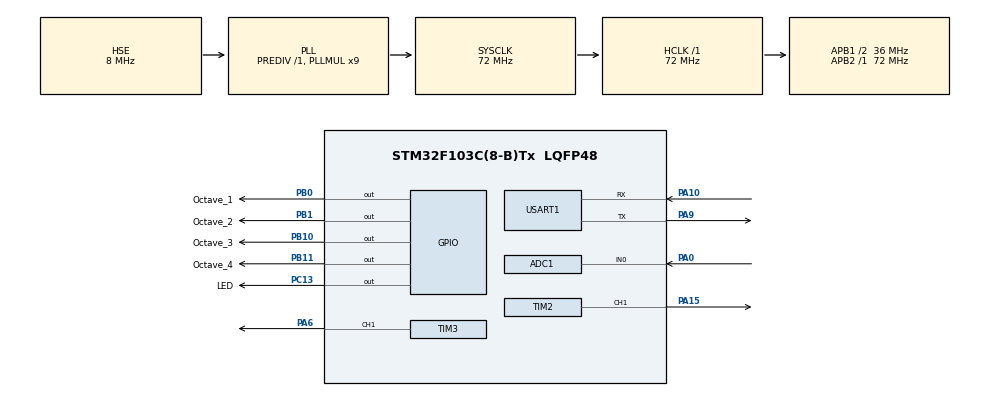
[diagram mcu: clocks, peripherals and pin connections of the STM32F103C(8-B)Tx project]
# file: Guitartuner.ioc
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ADC1.Channel-0\#ChannelRegularConversion=ADC_CHANNEL_0
ADC1.ContinuousConvMode=DISABLE
ADC1.ExternalTrigConv=ADC_EXTERNALTRIGCONV_T3_TRGO
ADC1.NbrOfConversionFlag=1
ADC1.Rank-0\#ChannelRegularConversion=1
ADC1.SamplingTime-0\#ChannelRegularConversion=ADC_SAMPLETIME_1CYCLE_5
ADC1.master=1
Mcu.Family=STM32F1
Mcu.Name=STM32F103C(8-B)Tx
Mcu.Package=LQFP48
NVIC.ADC1_2_IRQn=true\:0\:0\:false\:false\:true\:true\:true
NVIC.PriorityGroup=NVIC_PRIORITYGROUP_4
PA0-WKUP.Signal=ADCx_IN0
PA10.Mode=Asynchronous
PA10.Signal=USART1_RX
PA13.Mode=Serial_Wire
PA13.Signal=SYS_JTMS-SWDIO
PA14.Mode=Serial_Wire
PA14.Signal=SYS_JTCK-SWCLK
PA15.Signal=S_TIM2_CH1_ETR
PA6.Signal=S_TIM3_CH1
PA9.Mode=Asynchronous
PA9.Signal=USART1_TX
PB0.GPIO_Label=Octave_1
PB0.Signal=GPIO_Output
PB1.GPIO_Label=Octave_2
PB1.Signal=GPIO_Output
PB10.GPIO_Label=Octave_3
PB10.Signal=GPIO_Output
PB11.GPIO_Label=Octave_4
PB11.Signal=GPIO_Output
PC13-TAMPER-RTC.GPIO_Label=LED
PC13-TAMPER-RTC.Signal=GPIO_Output
PD0-OSC_IN.Mode=HSE-External-Oscillator
PD0-OSC_IN.Signal=RCC_OSC_IN
PD1-OSC_OUT.Mode=HSE-External-Oscillator
PD1-OSC_OUT.Signal=RCC_OSC_OUT
ProjectManager.HeapSize=0x200
ProjectManager.StackSize=0x400
ProjectManager.TargetToolchain=STM32CubeIDE
RCC.ADCPresc=RCC_ADCPCLK2_DIV6
RCC.AHBFreq_Value=72000000
RCC.APB1CLKDivider=RCC_HCLK_DIV2
RCC.APB1Freq_Value=36000000
RCC.APB1TimFreq_Value=72000000
RCC.APB2Freq_Value=72000000
RCC.APB2TimFreq_Value=72000000
RCC.HCLKFreq_Value=72000000
RCC.PLLMUL=RCC_PLL_MUL9
RCC.PLLSourceVirtual=RCC_PLLSOURCE_HSE
RCC.SYSCLKFreq_VALUE=72000000
RCC.SYSCLKSource=RCC_SYSCLKSOURCE_PLLCLK
RCC.USBFreq_Value=48000000
RCC.USBPrescaler=RCC_USBCLKSOURCE_PLL_DIV1_5
SH.ADCx_IN0.0=ADC1_IN0,IN0
SH.S_TIM2_CH1_ETR.0=TIM2_CH1,PWM Generation1 CH1
SH.S_TIM3_CH1.0=TIM3_CH1,PWM Generation1 CH1
TIM2.Channel-PWM\ Generation1\ CH1=TIM_CHANNEL_1
TIM2.Period=1000
TIM2.Prescaler=71
TIM2.TIM_MasterOutputTrigger=TIM_TRGO_UPDATE
TIM3.Channel-PWM\ Generation1\ CH1=TIM_CHANNEL_1
TIM3.Period=124
TIM3.Prescaler=11
TIM3.Pulse-PWM\ Generation1\ CH1=62
TIM3.TIM_MasterOutputTrigger=TIM_TRGO_UPDATE
USART1.VirtualMode=VM_ASYNC
VP_TIM2_VS_ClockSourceINT.Mode=Internal
VP_TIM3_VS_ClockSourceINT.Mode=Internal
board=custom

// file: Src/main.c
/* USER CODE BEGIN Header */
/**
******************************************************************************
* @file           : main.c
* @brief          : Main program body
******************************************************************************
* @attention
*
* <h2><center>&copy; Copyright (c) 2019 STMicroelectronics.
* All rights reserved.</center></h2>
*
* This software component is licensed by ST under BSD 3-Clause license,
* the "License"; You may not use this file except in compliance with the
* License. You may obtain a copy of the License at:
*                        opensource.org/licenses/BSD-3-Clause
*
******************************************************************************
*/
/* USER CODE END Header */

#include "main.h"

/* USER CODE BEGIN Includes */

#include <stdio.h>
#include <stdlib.h>
#include <math.h>
#include <string.h>
#include "stm32f1xx_hal_rcc.h"

/* USER CODE END Includes */

/* USER CODE BEGIN PD */

/* Notes in first octave */

#define C1  32.703
#define Cs1 34.648
#define D1  36.708
#define Ds1 38.891
#define E1  41.203
#define F1  43.654
#define Fs1 46.249
#define G1  48.999
#define Gs1 51.913
#define A1  55.000
#define As1 58.270
#define B1  61.735

#define FREQ_MIN 30.703     /* B0 First stripe */
#define FREQ_MAX 63.735     /* C2 Last stripe */

#define sample_freq 48000.0

/* USER CODE END PD */

ADC_HandleTypeDef hadc1;

TIM_HandleTypeDef htim2;
TIM_HandleTypeDef htim3;

UART_HandleTypeDef huart1;

/* USER CODE BEGIN PV */

//data storage variables
uint8_t newData = 0;
uint8_t prevData = 0;
unsigned int time = 0;//keeps time and sends vales to store in timer[] occasionally
int timer[10];//storage for timing of events
int slope[10];//storage for slope of events
unsigned int totalTimer;//used to calculate period
volatile unsigned int period = 0;//storage for period of wave
uint8_t indexx = 0;//current storage index
float frequency;//storage for frequency calculations
int maxSlope = 0;//used to calculate max slope as trigger point
int newSlope;//storage for incoming slope data

//variables for decided whether you have a match
uint8_t noMatch = 0;//counts how many non-matches you've received to reset variables if it's been too long
uint8_t slopeTol = 3;// 50 slope tolerance- adjust this if you need
int timerTol = 10;// 50 timer tolerance- adjust this if you need

//variables for amp detection
unsigned int ampTimer = 0;
uint8_t maxAmp = 0;
volatile uint8_t checkMaxAmp;
uint8_t ampThreshold = 20;  //raise if you have a very noisy signal

float pitch_1;
float duty, prevduty;
float notes[] = { C1, Cs1, D1, Ds1, E1, F1, Fs1, G1, Gs1, A1, As1, B1 };
size_t octave;

uint32_t multiplier;

/* USER CODE END PV */

void SystemClock_Config(void);
static void MX_GPIO_Init(void);
static void MX_ADC1_Init(void);
static void MX_TIM3_Init(void);
static void MX_USART1_UART_Init(void);
static void MX_TIM2_Init(void);
/* USER CODE BEGIN PFP */

void reset(void);

/* USER CODE END PFP */

/* USER CODE BEGIN 0 */

void HAL_ADC_ConvCpltCallback(ADC_HandleTypeDef* hadc)
{
    /* Prevent unused argument(s) compilation warning */
    UNUSED(hadc);

    prevData = newData;//store previous value
    newData = HAL_ADC_GetValue(&hadc1) >> 4;//get value from A0
    if (prevData < 127 && newData >= 127) {//if increasing and crossing midpoint
        newSlope = newData - prevData;//calculate slope
        if (abs(newSlope - maxSlope) < slopeTol) {//if slopes are ==
            //record new data and reset time
            slope[indexx] = newSlope;
            timer[indexx] = time;
            time = 0;
            if (indexx == 0) {//new max slope just reset
                noMatch = 0;
                indexx++;//increment index
            }
            else if (abs(timer[0] - timer[indexx]) < timerTol &&
            		 abs(slope[0] - newSlope) < slopeTol) {//if timer duration and slopes match
                //sum timer values
                totalTimer = 0;
                for (uint8_t i = 0; i < indexx; i++) {
                    totalTimer += timer[i];
                }
                period = totalTimer;//set period
                //reset new zero indexx values to compare with
                timer[0] = timer[indexx];
                slope[0] = slope[indexx];
                indexx = 1;//set index to 1
                noMatch = 0;
            }
            else {//crossing midpoint but not match
                indexx++;//increment index
                if (indexx > 9) {
                    reset();
                }
            }
        }
        else if (newSlope > maxSlope) {//if new slope is much larger than max slope
            maxSlope = newSlope;
            time = 0;//reset clock
            noMatch = 0;
            indexx = 0;//reset index
        }
        else {//slope not steep enough
            noMatch++;//increment no match counter
            if (noMatch > 9) {
                reset();
            }
        }
    }

    time++;//increment timer at rate of 38.5kHz

    ampTimer++;//increment amplitude timer
    if (abs(127 - newData) > maxAmp) {
        maxAmp = abs(127 - newData);
    }
    if (ampTimer == 1000) {
        ampTimer = 0;
        checkMaxAmp = maxAmp;
        maxAmp = 0;
    }
}

void reset(void)
{//clea out some variables
    indexx = 0;//reset index
    noMatch = 0;//reset match couner
    maxSlope = 0;//reset slope
}

void TM_Delay_Init(void)
{
    /* Get system clocks */
    uint32_t freq = HAL_RCC_GetHCLKFreq();

    /* While loop takes 4 cycles */
    /* For 1 us delay, we need to divide with 4M */
    multiplier = freq / 4000000;
}

void TM_DelayMicros(uint32_t micros)
{
    /* Multiply micros with multipler */
    /* Substract 10 */
    micros = micros * multiplier - 10;
    /* 4 cycles for one loop */
    while (micros--);
}

/* USER CODE END 0 */

int main(void)
{

  /* MCU Configuration--------------------------------------------------------*/

  /* Reset of all peripherals, Initializes the Flash interface and the Systick. */
  HAL_Init();

  /* Configure the system clock */
  SystemClock_Config();

  /* Initialize all configured peripherals */
  MX_GPIO_Init();
  MX_ADC1_Init();
  MX_TIM3_Init();
  MX_USART1_UART_Init();
  MX_TIM2_Init();
  /* USER CODE BEGIN 2 */

  HAL_TIM_PWM_Start(&htim2, TIM_CHANNEL_1);
  HAL_TIM_Base_Start(&htim3);
  HAL_TIM_PWM_Start(&htim3, TIM_CHANNEL_1);
  HAL_ADC_Start_IT(&hadc1);
  TM_Delay_Init();

  /* USER CODE END 2 */

  /* Infinite loop */
  /* USER CODE BEGIN WHILE */

  /* Test the instrument */
  for (size_t i = 1; i <= 1000; i++) {
      TIM2->CCR1 = i;
      TM_DelayMicros(200);
  }

  HAL_Delay(100);

  for (size_t i = 1000; i > 0; i--) {
      TIM2->CCR1 = i;
      TM_DelayMicros(200);
  }

  while (1)
  {
    /* USER CODE END WHILE */

    /* USER CODE BEGIN 3 */

    if (checkMaxAmp > ampThreshold) {
        frequency = sample_freq / period;

        //print results
        if (frequency > 51 && frequency < 350) {
            char buf[32];
            sprintf(buf, "%.2f Hz\r\n", frequency);
            HAL_UART_Transmit(&huart1, (uint8_t*)buf, strlen(buf), HAL_MAX_DELAY);
            /* Divide frequency to first octave */
            for (size_t i = 0; i < 4; i++) {
                pitch_1 = frequency / (1 << i);
                if (pitch_1 >= FREQ_MIN && pitch_1 <= FREQ_MAX) {
                    duty = 100 * (pitch_1 - FREQ_MIN) / (FREQ_MAX - FREQ_MIN);
                    prevduty = TIM2->CCR1 / 10;
                    /* Calculate distance. If its far, soften the pointer */
                    if (abs(duty - prevduty) >= 10) {
                        /* PWM resolution is 1000 */
                        for (size_t i = prevduty; i < duty*10; i++) {
                            TIM2->CCR1 = i;
                            TM_DelayMicros(200);
                        }
                    }
                    else
                    	TIM2->CCR1 = duty * 10;

                    octave = i + 1;
                    break;
                }
            }
            for (size_t i = 0; i < 12; i++) {
                if (fabs(pitch_1 - notes[i]) < 0.5) {
                    switch (octave) {
                        case 1 :
                            HAL_GPIO_WritePin(GPIOB, Octave_1_Pin, GPIO_PIN_SET);
                            HAL_Delay(1000);
                        break;
                        case 2 :
                            HAL_GPIO_WritePin(GPIOB, Octave_2_Pin, GPIO_PIN_SET);
                            HAL_Delay(1000);
                        break;
                        case 3 :
                            HAL_GPIO_WritePin(GPIOB, Octave_3_Pin, GPIO_PIN_SET);
                            HAL_Delay(1000);
                        break;
                        case 4 :
                            HAL_GPIO_WritePin(GPIOB, Octave_4_Pin, GPIO_PIN_SET);
                            HAL_Delay(1000);
                        break;
                        default : break;
                    }
                    break;
                }
                HAL_GPIO_WritePin(GPIOB, Octave_1_Pin | Octave_2_Pin |
                                         Octave_3_Pin | Octave_4_Pin, GPIO_PIN_RESET);
                }
            }
        }
        else {
            HAL_GPIO_WritePin(GPIOB, Octave_1_Pin | Octave_2_Pin |
                                     Octave_3_Pin | Octave_4_Pin, GPIO_PIN_RESET);
            uint16_t currCCR = TIM2->CCR1;
            /* Softening the pointer */
            for (size_t i = currCCR; i > 0; i--) {
                TIM2->CCR1 = i;
                TM_DelayMicros(200);
            }
        }
        HAL_Delay(500);
  }
  /* USER CODE END 3 */
}

void SystemClock_Config(void)
{
  RCC_OscInitTypeDef RCC_OscInitStruct = {0};
  RCC_ClkInitTypeDef RCC_ClkInitStruct = {0};
  RCC_PeriphCLKInitTypeDef PeriphClkInit = {0};

  /** Initializes the CPU, AHB and APB busses clocks
  */
  RCC_OscInitStruct.OscillatorType = RCC_OSCILLATORTYPE_HSE;
  RCC_OscInitStruct.HSEState = RCC_HSE_ON;
  RCC_OscInitStruct.HSEPredivValue = RCC_HSE_PREDIV_DIV1;
  RCC_OscInitStruct.HSIState = RCC_HSI_ON;
  RCC_OscInitStruct.PLL.PLLState = RCC_PLL_ON;
  RCC_OscInitStruct.PLL.PLLSource = RCC_PLLSOURCE_HSE;
  RCC_OscInitStruct.PLL.PLLMUL = RCC_PLL_MUL9;
  if (HAL_RCC_OscConfig(&RCC_OscInitStruct) != HAL_OK)
  {
    Error_Handler();
  }
  /** Initializes the CPU, AHB and APB busses clocks
  */
  RCC_ClkInitStruct.ClockType = RCC_CLOCKTYPE_HCLK|RCC_CLOCKTYPE_SYSCLK
                              |RCC_CLOCKTYPE_PCLK1|RCC_CLOCKTYPE_PCLK2;
  RCC_ClkInitStruct.SYSCLKSource = RCC_SYSCLKSOURCE_PLLCLK;
  RCC_ClkInitStruct.AHBCLKDivider = RCC_SYSCLK_DIV1;
  RCC_ClkInitStruct.APB1CLKDivider = RCC_HCLK_DIV2;
  RCC_ClkInitStruct.APB2CLKDivider = RCC_HCLK_DIV1;

  if (HAL_RCC_ClockConfig(&RCC_ClkInitStruct, FLASH_LATENCY_2) != HAL_OK)
  {
    Error_Handler();
  }
  PeriphClkInit.PeriphClockSelection = RCC_PERIPHCLK_ADC;
  PeriphClkInit.AdcClockSelection = RCC_ADCPCLK2_DIV6;
  if (HAL_RCCEx_PeriphCLKConfig(&PeriphClkInit) != HAL_OK)
  {
    Error_Handler();
  }
}

static void MX_ADC1_Init(void)
{

  ADC_ChannelConfTypeDef sConfig = {0};

  /** Common config
  */
  hadc1.Instance = ADC1;
  hadc1.Init.ScanConvMode = ADC_SCAN_DISABLE;
  hadc1.Init.ContinuousConvMode = DISABLE;
  hadc1.Init.DiscontinuousConvMode = DISABLE;
  hadc1.Init.ExternalTrigConv = ADC_EXTERNALTRIGCONV_T3_TRGO;
  hadc1.Init.DataAlign = ADC_DATAALIGN_RIGHT;
  hadc1.Init.NbrOfConversion = 1;
  if (HAL_ADC_Init(&hadc1) != HAL_OK)
  {
    Error_Handler();
  }
  /** Configure Regular Channel
  */
  sConfig.Channel = ADC_CHANNEL_0;
  sConfig.Rank = ADC_REGULAR_RANK_1;
  sConfig.SamplingTime = ADC_SAMPLETIME_1CYCLE_5;
  if (HAL_ADC_ConfigChannel(&hadc1, &sConfig) != HAL_OK)
  {
    Error_Handler();
  }

}

static void MX_TIM2_Init(void)
{

  TIM_ClockConfigTypeDef sClockSourceConfig = {0};
  TIM_MasterConfigTypeDef sMasterConfig = {0};
  TIM_OC_InitTypeDef sConfigOC = {0};

  htim2.Instance = TIM2;
  htim2.Init.Prescaler = 71;
  htim2.Init.CounterMode = TIM_COUNTERMODE_UP;
  htim2.Init.Period = 1000;
  htim2.Init.ClockDivision = TIM_CLOCKDIVISION_DIV1;
  htim2.Init.AutoReloadPreload = TIM_AUTORELOAD_PRELOAD_DISABLE;
  if (HAL_TIM_Base_Init(&htim2) != HAL_OK)
  {
    Error_Handler();
  }
  sClockSourceConfig.ClockSource = TIM_CLOCKSOURCE_INTERNAL;
  if (HAL_TIM_ConfigClockSource(&htim2, &sClockSourceConfig) != HAL_OK)
  {
    Error_Handler();
  }
  if (HAL_TIM_PWM_Init(&htim2) != HAL_OK)
  {
    Error_Handler();
  }
  sMasterConfig.MasterOutputTrigger = TIM_TRGO_UPDATE;
  sMasterConfig.MasterSlaveMode = TIM_MASTERSLAVEMODE_DISABLE;
  if (HAL_TIMEx_MasterConfigSynchronization(&htim2, &sMasterConfig) != HAL_OK)
  {
    Error_Handler();
  }
  sConfigOC.OCMode = TIM_OCMODE_PWM1;
  sConfigOC.Pulse = 0;
  sConfigOC.OCPolarity = TIM_OCPOLARITY_HIGH;
  sConfigOC.OCFastMode = TIM_OCFAST_DISABLE;
  if (HAL_TIM_PWM_ConfigChannel(&htim2, &sConfigOC, TIM_CHANNEL_1) != HAL_OK)
  {
    Error_Handler();
  }
  HAL_TIM_MspPostInit(&htim2);

}

static void MX_TIM3_Init(void)
{

  TIM_ClockConfigTypeDef sClockSourceConfig = {0};
  TIM_MasterConfigTypeDef sMasterConfig = {0};
  TIM_OC_InitTypeDef sConfigOC = {0};

  htim3.Instance = TIM3;
  htim3.Init.Prescaler = 11;
  htim3.Init.CounterMode = TIM_COUNTERMODE_UP;
  htim3.Init.Period = 124;
  htim3.Init.ClockDivision = TIM_CLOCKDIVISION_DIV1;
  htim3.Init.AutoReloadPreload = TIM_AUTORELOAD_PRELOAD_DISABLE;
  if (HAL_TIM_Base_Init(&htim3) != HAL_OK)
  {
    Error_Handler();
  }
  sClockSourceConfig.ClockSource = TIM_CLOCKSOURCE_INTERNAL;
  if (HAL_TIM_ConfigClockSource(&htim3, &sClockSourceConfig) != HAL_OK)
  {
    Error_Handler();
  }
  if (HAL_TIM_PWM_Init(&htim3) != HAL_OK)
  {
    Error_Handler();
  }
  sMasterConfig.MasterOutputTrigger = TIM_TRGO_UPDATE;
  sMasterConfig.MasterSlaveMode = TIM_MASTERSLAVEMODE_DISABLE;
  if (HAL_TIMEx_MasterConfigSynchronization(&htim3, &sMasterConfig) != HAL_OK)
  {
    Error_Handler();
  }
  sConfigOC.OCMode = TIM_OCMODE_PWM1;
  sConfigOC.Pulse = 62;
  sConfigOC.OCPolarity = TIM_OCPOLARITY_HIGH;
  sConfigOC.OCFastMode = TIM_OCFAST_DISABLE;
  if (HAL_TIM_PWM_ConfigChannel(&htim3, &sConfigOC, TIM_CHANNEL_1) != HAL_OK)
  {
    Error_Handler();
  }
  HAL_TIM_MspPostInit(&htim3);

}

static void MX_USART1_UART_Init(void)
{

  huart1.Instance = USART1;
  huart1.Init.BaudRate = 115200;
  huart1.Init.WordLength = UART_WORDLENGTH_8B;
  huart1.Init.StopBits = UART_STOPBITS_1;
  huart1.Init.Parity = UART_PARITY_NONE;
  huart1.Init.Mode = UART_MODE_TX_RX;
  huart1.Init.HwFlowCtl = UART_HWCONTROL_NONE;
  huart1.Init.OverSampling = UART_OVERSAMPLING_16;
  if (HAL_UART_Init(&huart1) != HAL_OK)
  {
    Error_Handler();
  }

}

static void MX_GPIO_Init(void)
{
  GPIO_InitTypeDef GPIO_InitStruct = {0};

  /* GPIO Ports Clock Enable */
  __HAL_RCC_GPIOC_CLK_ENABLE();
  __HAL_RCC_GPIOD_CLK_ENABLE();
  __HAL_RCC_GPIOA_CLK_ENABLE();
  __HAL_RCC_GPIOB_CLK_ENABLE();

  /*Configure GPIO pin Output Level */
  HAL_GPIO_WritePin(LED_GPIO_Port, LED_Pin, GPIO_PIN_RESET);

  /*Configure GPIO pin Output Level */
  HAL_GPIO_WritePin(GPIOB, Octave_1_Pin|Octave_2_Pin|Octave_3_Pin|Octave_4_Pin, GPIO_PIN_RESET);

  /*Configure GPIO pin : LED_Pin */
  GPIO_InitStruct.Pin = LED_Pin;
  GPIO_InitStruct.Mode = GPIO_MODE_OUTPUT_PP;
  GPIO_InitStruct.Pull = GPIO_NOPULL;
  GPIO_InitStruct.Speed = GPIO_SPEED_FREQ_LOW;
  HAL_GPIO_Init(LED_GPIO_Port, &GPIO_InitStruct);

  /*Configure GPIO pins : Octave_1_Pin Octave_2_Pin Octave_3_Pin Octave_4_Pin */
  GPIO_InitStruct.Pin = Octave_1_Pin|Octave_2_Pin|Octave_3_Pin|Octave_4_Pin;
  GPIO_InitStruct.Mode = GPIO_MODE_OUTPUT_PP;
  GPIO_InitStruct.Pull = GPIO_NOPULL;
  GPIO_InitStruct.Speed = GPIO_SPEED_FREQ_LOW;
  HAL_GPIO_Init(GPIOB, &GPIO_InitStruct);

}

void Error_Handler(void)
{
  /* USER CODE BEGIN Error_Handler_Debug */
    while (1) {
        HAL_Delay(500);
        HAL_GPIO_TogglePin(LED_GPIO_Port, LED_Pin);
    }

  /* USER CODE END Error_Handler_Debug */
}

/************************ (C) COPYRIGHT STMicroelectronics *****END OF FILE****/
